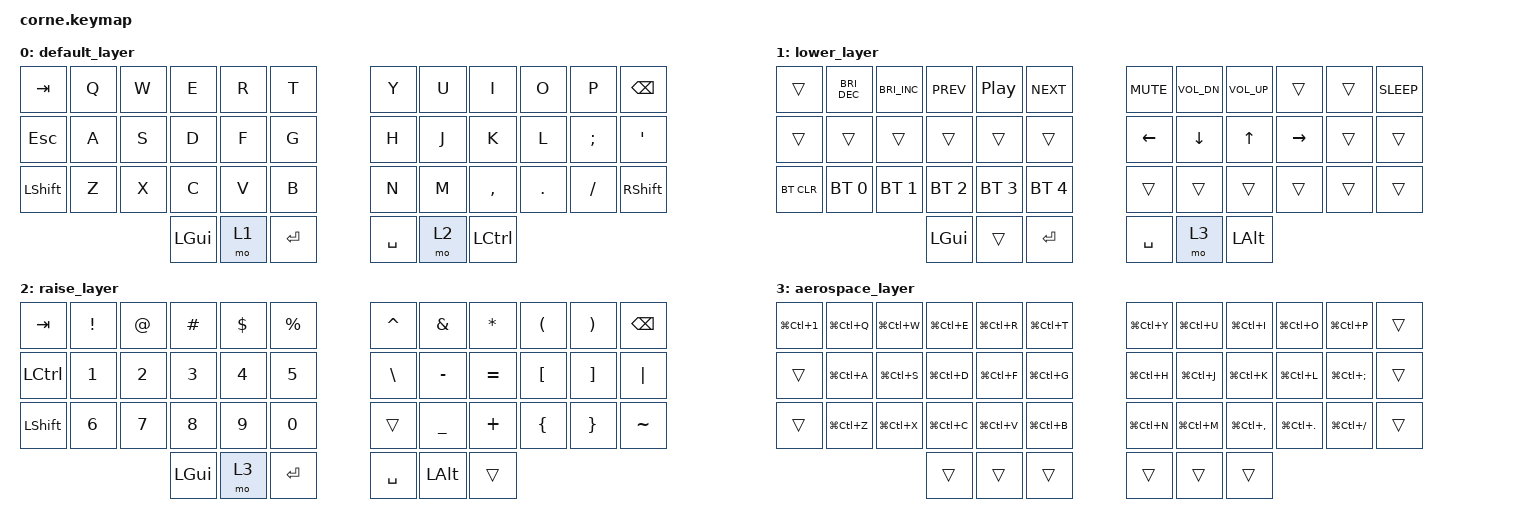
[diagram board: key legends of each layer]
/*
 * Copyright (c) 2020 The ZMK Contributors
 *
 * SPDX-License-Identifier: MIT
 */

#include <behaviors.dtsi>
#include <dt-bindings/zmk/bt.h>
#include <dt-bindings/zmk/keys.h>

/ {
    keymap {
        compatible = "zmk,keymap";

        default_layer {
            // -----------------------------------------------------------------------------------------
            // |  TAB |  Q  |  W  |  E  |  R  |  T  |   |  Y  |  U   |  I  |  O  |  P  | BSPC |
            // | CTRL |  A  |  S  |  D  |  F  |  G  |   |  H  |  J   |  K  |  L  |  ;  |  '   |
            // | SHFT |  Z  |  X  |  C  |  V  |  B  |   |  N  |  M   |  ,  |  .  |  /  | ESC  |
            //                    | GUI | LWR | SPC |   | ENT | RSE  | ALT |

            bindings = <
&kp TAB    &kp Q  &kp W  &kp E     &kp R  &kp T        &kp Y      &kp U  &kp I             &kp O    &kp P     &kp BSPC
&kp ESC    &kp A  &kp S  &kp D     &kp F  &kp G        &kp H      &kp J  &kp K             &kp L    &kp SEMI  &kp SQT
&kp LSHFT  &kp Z  &kp X  &kp C     &kp V  &kp B        &kp N      &kp M  &kp COMMA         &kp DOT  &kp FSLH  &kp RIGHT_SHIFT
                         &kp LGUI  &mo 1  &kp ENTER    &kp SPACE  &mo 2  &kp LEFT_CONTROL
            >;
        };

        lower_layer {
            // -----------------------------------------------------------------------------------------
            // |  TAB |  1  |  2  |  3  |  4  |  5  |   |  6  |  7  |  8  |  9  |  0  | BSPC |
            // | BTCLR| BT1 | BT2 | BT3 | BT4 | BT5 |   | LFT | DWN |  UP | RGT |     |      |
            // | SHFT |     |     |     |     |     |   |     |     |     |     |     |      |
            //                    | GUI |     | SPC |   | ENT |     | ALT |

            bindings = <
&trans      &kp C_BRI_DEC  &kp C_BRIGHTNESS_INC  &kp C_PREV    &kp C_PLAY_PAUSE  &kp C_NEXT      &kp K_MUTE  &kp C_VOL_DN  &kp C_VOLUME_UP  &trans     &trans  &kp C_SLEEP
&trans      &trans         &trans                &trans        &trans            &trans          &kp LEFT    &kp DOWN      &kp UP           &kp RIGHT  &trans  &trans
&bt BT_CLR  &bt BT_SEL 0   &bt BT_SEL 1          &bt BT_SEL 2  &bt BT_SEL 3      &bt BT_SEL 4    &trans      &trans        &trans           &trans     &trans  &trans
                                                 &kp LGUI      &trans            &kp ENTER       &kp SPACE   &mo 3         &kp LEFT_ALT
            >;
        };

        raise_layer {
            // -----------------------------------------------------------------------------------------
            // |  TAB |  !  |  @  |  #  |  $  |  %  |   |  ^  |  &  |  *  |  (  |  )  | BSPC |
            // | CTRL |     |     |     |     |     |   |  -  |  =  |  [  |  ]  |  \  |  `   |
            // | SHFT |     |     |     |     |     |   |  _  |  +  |  {  |  }  | "|" |  ~   |
            //                    | GUI |     | SPC |   | ENT |     | ALT |

            bindings = <
&kp TAB    &kp EXCL  &kp AT  &kp HASH  &kp DLLR  &kp PRCNT    &kp CARET      &kp AMPS      &kp ASTRK  &kp LPAR  &kp RPAR  &kp BSPC
&kp LCTRL  &kp N1    &kp N2  &kp N3    &kp N4    &kp N5       &kp BACKSLASH  &kp MINUS     &kp EQUAL  &kp LBKT  &kp RBKT  &kp PIPE
&kp LSHFT  &kp N6    &kp N7  &kp N8    &kp N9    &kp N0       &trans         &kp UNDER     &kp PLUS   &kp LBRC  &kp RBRC  &kp TILDE
                             &kp LGUI  &mo 3     &kp ENTER    &kp SPACE      &kp LEFT_ALT  &trans
            >;
        };

        aerospace_layer {
            // -----------------------------------------------------------------------------------------
            // Aerospace workspace management with cmd+ctrl+[key]
            // Hold SHIFT from base layer to add shift = move window instead of switch
            // |   1  |  Q  |  W  |  E  |  R  |  T  |   |  Y  |  U  |  I  |  O  |  P  |      |
            // |      |  A  |  S  |  D  |  F  |  G  |   |  H  |  J  |  K  |  L  |  ;  |      |
            // |      |  Z  |  X  |  C  |  V  |  B  |   |  N  |  M  |  ,  |  .  |  /  |      |
            //                    |     |     |     |   |     |     |     |

            bindings = <
&kp LG(LC(N1))  &kp LG(LC(Q))  &kp LG(LC(W))  &kp LG(LC(E))  &kp LG(LC(R))  &kp LG(LC(T))    &kp LG(LC(Y))  &kp LG(LC(U))  &kp LG(LC(I))     &kp LG(LC(O))    &kp LG(LC(P))     &trans
&trans          &kp LG(LC(A))  &kp LG(LC(S))  &kp LG(LC(D))  &kp LG(LC(F))  &kp LG(LC(G))    &kp LG(LC(H))  &kp LG(LC(J))  &kp LG(LC(K))     &kp LG(LC(L))    &kp LG(LC(SEMI))  &trans
&trans          &kp LG(LC(Z))  &kp LG(LC(X))  &kp LG(LC(C))  &kp LG(LC(V))  &kp LG(LC(B))    &kp LG(LC(N))  &kp LG(LC(M))  &kp LG(LC(COMMA)) &kp LG(LC(DOT))  &kp LG(LC(FSLH))  &trans
                                              &trans         &trans         &trans           &trans         &trans         &trans
            >;
        };
    };
};
